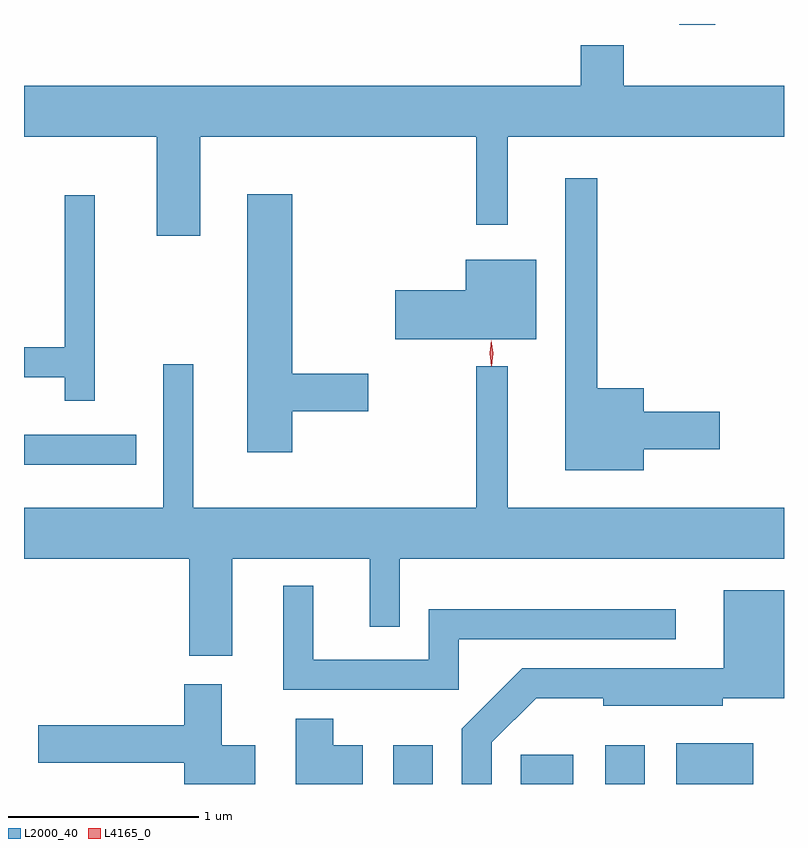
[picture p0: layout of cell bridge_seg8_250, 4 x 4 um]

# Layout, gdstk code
import gdstk
lib = gdstk.Library(unit=1e-6, precision=1e-09)
def R(c, l, rs):  # rectangles x0, y0, x1, y1
    for r in rs: c.add(gdstk.rectangle(r[:2], r[2:], *l))
def P(c, l, *ps):  # polygons
    for p in ps: c.add(gdstk.Polygon(p, *l))
L2000_40 = (2000, 40)
L4165_0 = (4165, 0)

bridge_seg8_250 = lib.new_cell('bridge_seg8_250')
R(bridge_seg8_250, L2000_40, [(1110.316,1819.69,1110.524,1819.894), (1110.986,1819.69,1111.264,1819.844), (1111.431,1819.69,1111.639,1819.894), (1111.806,1819.69,1112.209,1819.904), (1108.372,1821.371,1108.963,1821.529), (1111.821,1823.686,1112.009,1823.69)])
P(bridge_seg8_250, L2000_40, [(1109.299,1823.096),(1110.751,1823.096),(1110.751,1822.633),(1110.919,1822.633),(1110.919,1823.096),(1112.372,1823.096),(1112.372,1823.364),(1111.529,1823.364),(1111.529,1823.579),(1111.301,1823.579),(1111.301,1823.364),(1108.372,1823.364),(1108.372,1823.096),(1109.071,1823.096),(1109.071,1822.576),(1109.299,1822.576)],
  [(1111.634,1821.451),(1112.034,1821.451),(1112.034,1821.649),(1111.634,1821.649),(1111.634,1821.774),(1111.389,1821.774),(1111.389,1822.878),(1111.221,1822.878),(1111.221,1821.341),(1111.634,1821.341)],
  [(1109.784,1821.651),(1110.184,1821.651),(1110.184,1821.849),(1109.784,1821.849),(1109.784,1822.794),(1109.546,1822.794),(1109.546,1821.436),(1109.784,1821.436)],
  [(1108.744,1822.788),(1108.586,1822.788),(1108.586,1821.989),(1108.372,1821.989),(1108.372,1821.831),(1108.586,1821.831),(1108.586,1821.708),(1108.744,1821.708)],
  [(1111.069,1822.449),(1110.696,1822.449),(1110.696,1822.289),(1110.326,1822.289),(1110.326,1822.031),(1111.069,1822.031)],
  [(1109.469,1820.876),(1110.191,1820.876),(1110.191,1820.518),(1110.349,1820.518),(1110.349,1820.876),(1112.372,1820.876),(1112.372,1821.144),(1110.919,1821.144),(1110.919,1821.888),(1110.751,1821.888),(1110.751,1821.144),(1109.264,1821.144),(1109.264,1821.898),(1109.106,1821.898),(1109.106,1821.144),(1108.372,1821.144),(1108.372,1820.876),(1109.241,1820.876),(1109.241,1820.366),(1109.469,1820.366)],
  [(1110.659,1820.451),(1111.803,1820.451),(1111.803,1820.609),(1110.501,1820.609),(1110.501,1820.344),(1109.894,1820.344),(1109.894,1820.733),(1109.736,1820.733),(1109.736,1820.186),(1110.659,1820.186)],
  [(1110.834,1819.909),(1111.067,1820.141),(1111.421,1820.141),(1111.421,1820.101),(1112.049,1820.101),(1112.049,1820.141),(1112.372,1820.141),(1112.372,1820.709),(1112.056,1820.709),(1112.056,1820.299),(1110.994,1820.299),(1110.676,1819.982),(1110.676,1819.69),(1110.834,1819.69)],
  [(1109.589,1819.894),(1109.414,1819.894),(1109.414,1820.214),(1109.216,1820.214),(1109.216,1819.999),(1108.446,1819.999),(1108.446,1819.801),(1109.216,1819.801),(1109.216,1819.69),(1109.589,1819.69)],
  [(1110.154,1819.894),(1109.999,1819.894),(1109.999,1820.034),(1109.801,1820.034),(1109.801,1819.69),(1110.154,1819.69)])
P(bridge_seg8_250, L4165_0, [(1110.832,1821.89),(1110.832,1821.89),(1110.822,1821.958),(1110.831,1822.025),(1110.832,1822.026),(1110.832,1822.025),(1110.842,1821.958),(1110.833,1821.89)],
  [(1110.832,1821.893),(1110.832,1821.894),(1110.822,1821.956),(1110.831,1822.019),(1110.832,1822.02),(1110.832,1822.019),(1110.842,1821.956),(1110.833,1821.894)])

lib.write_gds('bridge_seg8_250.gds')
